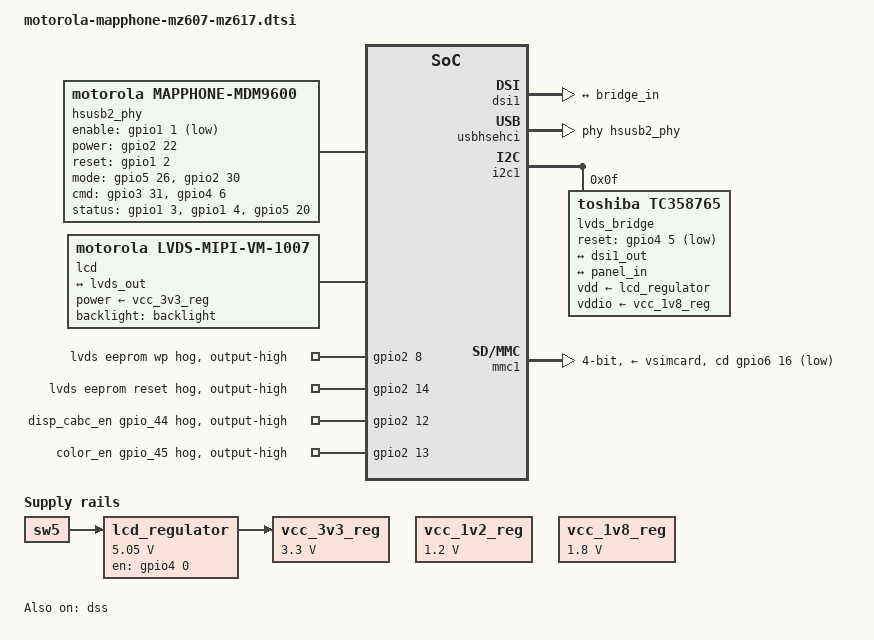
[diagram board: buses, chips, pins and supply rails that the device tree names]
// SPDX-License-Identifier: GPL-2.0-only
/dts-v1/;

#include "motorola-mapphone-common.dtsi"

/ {
	/* HS USB Host PHY on port 1 for mdm9600 */
	hsusb2_phy: usb-phy@2 {
		compatible = "motorola,mapphone-mdm9600";
		enable-gpios = <&gpio1 1 GPIO_ACTIVE_LOW>;	/* gpio_1 */
		power-gpios = <&gpio2 22 GPIO_ACTIVE_HIGH>;	/* gpio_54 */
		reset-gpios = <&gpio1 2 GPIO_ACTIVE_HIGH>;	/* gpio_2 */
		/* mode: gpio_154 gpio_62 */
		motorola,mode-gpios = <&gpio5 26 GPIO_ACTIVE_HIGH>,
				      <&gpio2 30 GPIO_ACTIVE_HIGH>;
		/* cmd: gpio_95 gpio_102 */
		motorola,cmd-gpios = <&gpio3 31 GPIO_ACTIVE_HIGH>,
				     <&gpio4 6 GPIO_ACTIVE_HIGH>;
		/* status: gpio_3 gpio_4 gpio_148 */
		motorola,status-gpios = <&gpio1 3 GPIO_ACTIVE_HIGH>,
					<&gpio1 4 GPIO_ACTIVE_HIGH>,
					<&gpio5 20 GPIO_ACTIVE_HIGH>;
		#phy-cells = <0>;
		clocks = <&auxclk3_ck>;
		clock-names = "main_clk";
		clock-frequency = <19200000>;
	};

	/* LCD regulator from sw5 source */
	lcd_regulator: regulator-lcd {
		compatible = "regulator-fixed";
		regulator-name = "lcd";
		regulator-min-microvolt = <5050000>;
		regulator-max-microvolt = <5050000>;
		gpio = <&gpio4 0 GPIO_ACTIVE_HIGH>;	/* gpio_96 */
		enable-active-high;
		vin-supply = <&sw5>;
	};

	vcc_1v2_reg: regulator-vcc-1v2 {
		compatible = "regulator-fixed";
		regulator-name = "vcc-1v2";
		regulator-min-microvolt = <1200000>;
		regulator-max-microvolt = <1200000>;
		regulator-always-on;
	};

	vcc_1v8_reg: regulator-vcc-1v8 {
		compatible = "regulator-fixed";
		regulator-name = "vcc-1v8";
		regulator-min-microvolt = <1800000>;
		regulator-max-microvolt = <1800000>;
		regulator-always-on;
	};

	vcc_3v3_reg: regulator-vcc-3v3 {
		compatible = "regulator-fixed";
		regulator-name = "vcc-3v3";
		regulator-min-microvolt = <3300000>;
		regulator-max-microvolt = <3300000>;
		vin-supply = <&lcd_regulator>;
	};

	lcd: panel {
		compatible = "motorola,lvds-mipi-vm-1007";
		power-supply = <&vcc_3v3_reg>;
		backlight = <&backlight>;
		port {
			panel_in: endpoint {
				remote-endpoint = <&lvds_out>;
			};
		};
	};

	soundcard {
		compatible = "audio-graph-card2";
		label = "Mapphone Tablet Audio";

		widgets =
			"Speaker", "Loudspeaker",
			"Headphone", "Headphone Jack",
			"Microphone", "Internal Mic";

		routing =
			"Loudspeaker", "LINEL",
			"Loudspeaker", "LINER",
			"Headphone Jack", "HSL",
			"Headphone Jack", "HSR",
			"MICR", "Internal Mic";

		links = <
			&mcbsp2_port
			&mcbsp3_port
		>;
	};
};

&dsi1 {
	status = "okay";
	vdd-supply = <&vcsi>;

	ports {
		#address-cells = <1>;
		#size-cells = <0>;

		port@0 {
			reg = <0>;

			dsi1_out: endpoint {
				remote-endpoint = <&bridge_in>;
				lanes = <0 1 2 3 4 5 6 7 8 9>;
				data-lanes = <1 2 3 4>;
			};
		};
	};
};

&dss {
	status = "okay";
};

&gpio2 {
	/*
	 * Note that writing to the lvds eeprom with gpio_40 down will cause a
	 * blank lcd also for Android until eeprom is restored.
	 */
	gpio-40 {
		gpio-hog;
		gpios = <8 GPIO_ACTIVE_HIGH>;		/* gpio_40 */
		output-high;
		line-name = "lvds eeprom wp";
	};

	gpio-46 {
		gpio-hog;
		gpios = <14 GPIO_ACTIVE_HIGH>;		/* gpio_46 */
		output-high;
		line-name = "lvds eeprom reset";
	};

	gpio-44 {
		gpio-hog;
		gpios = <12 GPIO_ACTIVE_HIGH>;		/* gpio_44 */
		output-high;
		line-name = "disp_cabc_en gpio_44";
	};

	gpio-45 {
		gpio-hog;
		gpios = <13 GPIO_ACTIVE_HIGH>;		/* gpio_45 */
		output-high;
		line-name = "color_en gpio_45";
	};
};

&modem {
	phys = <&hsusb2_phy>;
};

&usbhsehci {
	phys = <&hsusb2_phy>;
	phy-names = "usb2-phy";
};

&usbhshost {
	port2-mode = "ehci-phy";
};

&i2c1 {
	lvds_bridge: bridge@f {
		compatible = "toshiba,tc358765";
		reg = <0xf>;
		vdd-supply = <&lcd_regulator>;
		vddio-supply = <&vcc_1v8_reg>;
		reset-gpios = <&gpio4 5 GPIO_ACTIVE_LOW>;	/* gpio_101 */

		ports {
			#address-cells = <1>;
			#size-cells = <0>;

			port@0 {
				reg = <0>;
				bridge_in: endpoint {
					remote-endpoint = <&dsi1_out>;
				};
			};

			port@1 {
				reg = <1>;
				lvds_out: endpoint {
					remote-endpoint = <&panel_in>;
				};
			};
		};
        };
};

&keypad {
	keypad,num-rows = <8>;
	keypad,num-columns = <8>;
	linux,keymap = <MATRIX_KEY(5, 0, KEY_VOLUMEUP)>,
		       <MATRIX_KEY(3, 0, KEY_VOLUMEDOWN)>;
};

/*
 * On tablets, mmc1 regulator is vsimcard instead of vwlan2 in the stock kernel
 * dtb. The regulator may not be wired even if a MMC cage is added though.
 */
&mmc1 {
	vmmc-supply = <&vsimcard>;
	bus-width = <4>;
	cd-gpios = <&gpio6 16 GPIO_ACTIVE_LOW>;	/* gpio_176 */
};
